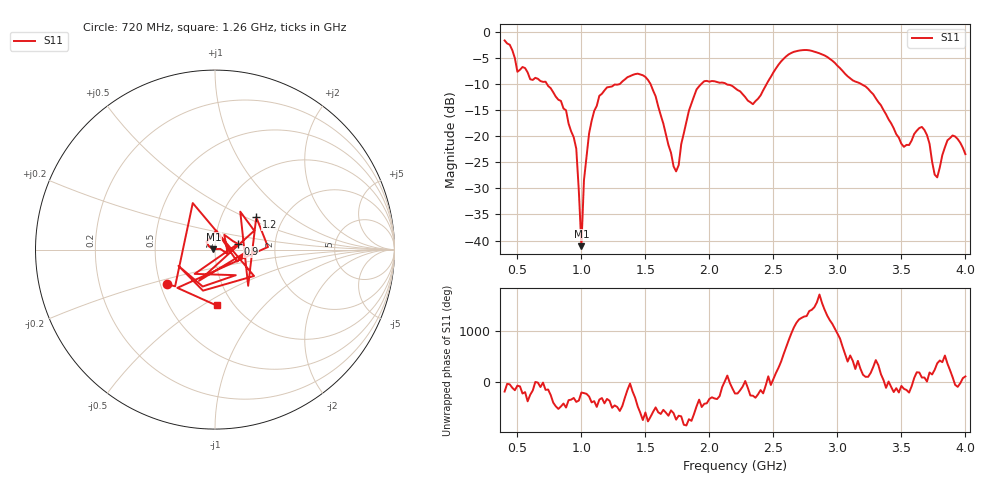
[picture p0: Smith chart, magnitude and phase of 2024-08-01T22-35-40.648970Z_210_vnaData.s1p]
!Created with skrf (http://scikit-rf.org).
# Hz S RI R 50.0
!freq ReS11 ImS11
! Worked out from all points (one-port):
!   181 points, 400 MHz to 4 GHz, reference 50 ohm
!   lowest |S11| = -41.1 dB at 1 GHz (marker M1), VSWR 1.02, Z = 49.2 + j0.244 ohm
!   |S11| at or under -10 dB: 730 MHz to 1.302 GHz (571.6 MHz wide, 56.3 % of centre); 1.539 GHz to 1.938 GHz (398.3 MHz wide, 22.9 % of centre); 3.183 GHz to end of sweep (the widest 3 of 4)
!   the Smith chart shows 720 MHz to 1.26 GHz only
!   S11 on the Smith chart (normalised r, x): 720 MHz: 0.54, -0.23; 900 MHz: 1.29, +0.08; 1.2 GHz: 1.46, +0.58; 1.26 GHz: 0.84, -0.58
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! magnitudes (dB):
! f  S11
! 400 MHz  -1.7
! 500 MHz  -7.7
! 720 MHz  -9.6
! 860 MHz  -14.7
! 900 MHz  -17.6
! 960 MHz  -22.4
! 1 GHz  -41.1
! 1.02 GHz  -28.4
! 1.06 GHz  -19.5
! 1.14 GHz  -12.3
! 1.2 GHz  -10.7
! 1.26 GHz  -10.1
! 1.3 GHz  -10.0
! 1.52 GHz  -9.3
! 1.72 GHz  -25.8
! 1.76 GHz  -25.6
! 1.84 GHz  -15.1
! 1.9 GHz  -11.1
! 2.2 GHz  -10.8
! 2.34 GHz  -13.9
! 2.66 GHz  -3.9
! 2.9 GHz  -4.6
! 3.1 GHz  -8.9
! 3.56 GHz  -21.7
! 3.66 GHz  -18.3
! 3.78 GHz  -27.9
! 3.9 GHz  -19.9
! 4 GHz  -23.5
